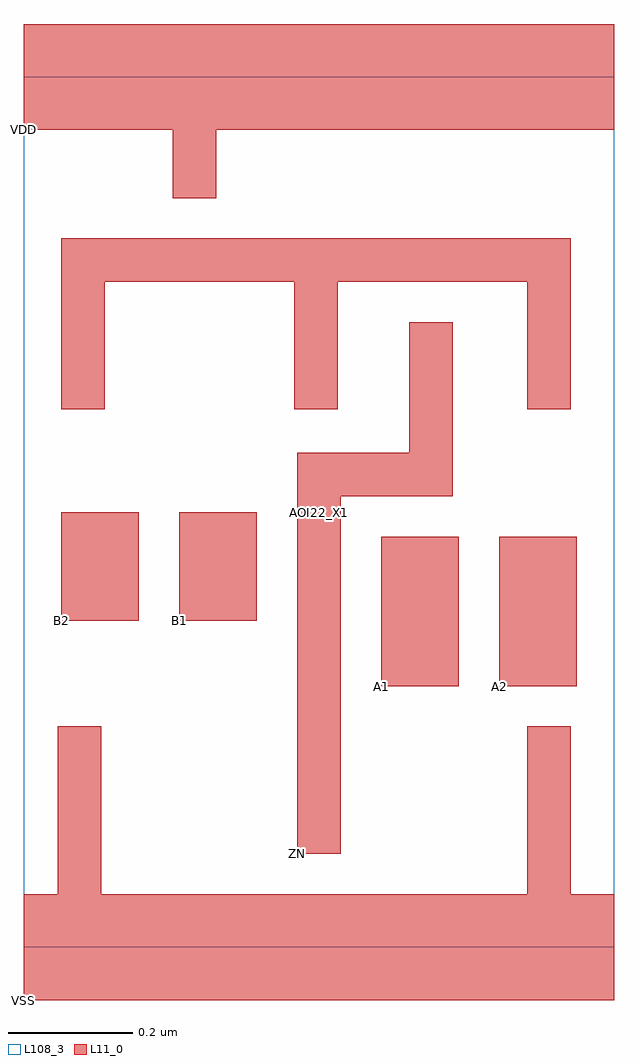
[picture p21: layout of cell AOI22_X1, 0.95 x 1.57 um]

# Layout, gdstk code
import gdstk
lib = gdstk.Library(unit=1e-6, precision=1e-09)
def R(c, l, rs):  # rectangles x0, y0, x1, y1
    for r in rs: c.add(gdstk.rectangle(r[:2], r[2:], *l))
def P(c, l, *ps):  # polygons
    for p in ps: c.add(gdstk.Polygon(p, *l))
L11_0 = (11, 0)
L108_3 = (108, 3)

aoi22_x1 = lib.new_cell('AOI22_X1')
R(aoi22_x1, L11_0, [(0.575,0.42,0.7,0.66), (0.765,0.42,0.89,0.66), (0.06,0.525,0.185,0.7), (0.25,0.525,0.375,0.7)])
P(aoi22_x1, L11_0, [(0.44,0.15),(0.51,0.15),(0.51,0.725),(0.69,0.725),(0.69,1.005),(0.62,1.005),(0.62,0.795),(0.44,0.795)],
  [(0,1.315),(0.24,1.315),(0.24,1.205),(0.31,1.205),(0.31,1.315),(0.88,1.315),(0.95,1.315),(0.95,1.485),(0.88,1.485),(0,1.485)],
  [(0,-0.085),(0.95,-0.085),(0.95,0.085),(0.88,0.085),(0.88,0.355),(0.81,0.355),(0.81,0.085),(0.125,0.085),(0.125,0.355),(0.055,0.355),(0.055,0.085),(0,0.085)],
  [(0.06,0.865),(0.13,0.865),(0.13,1.07),(0.435,1.07),(0.435,0.865),(0.505,0.865),(0.505,1.07),(0.81,1.07),(0.81,0.865),(0.88,0.865),(0.88,1.14),(0.06,1.14)])
R(aoi22_x1, L108_3, [(0,0,0.95,1.4)])
aoi22_x1.add(gdstk.Label('AOI22_X1', (0.475,0.7), layer=108, texttype=3))
aoi22_x1.add(gdstk.Label('A1', (0.575,0.42), layer=11, texttype=0))
aoi22_x1.add(gdstk.Label('A2', (0.765,0.42), layer=11, texttype=0))
aoi22_x1.add(gdstk.Label('B1', (0.25,0.525), layer=11, texttype=0))
aoi22_x1.add(gdstk.Label('B2', (0.06,0.525), layer=11, texttype=0))
aoi22_x1.add(gdstk.Label('ZN', (0.44,0.15), layer=11, texttype=0))
aoi22_x1.add(gdstk.Label('VDD', (0,1.315), layer=11, texttype=0))
aoi22_x1.add(gdstk.Label('VSS', (0,-0.085), layer=11, texttype=0))

lib.write_gds('AOI22_X1.gds')
